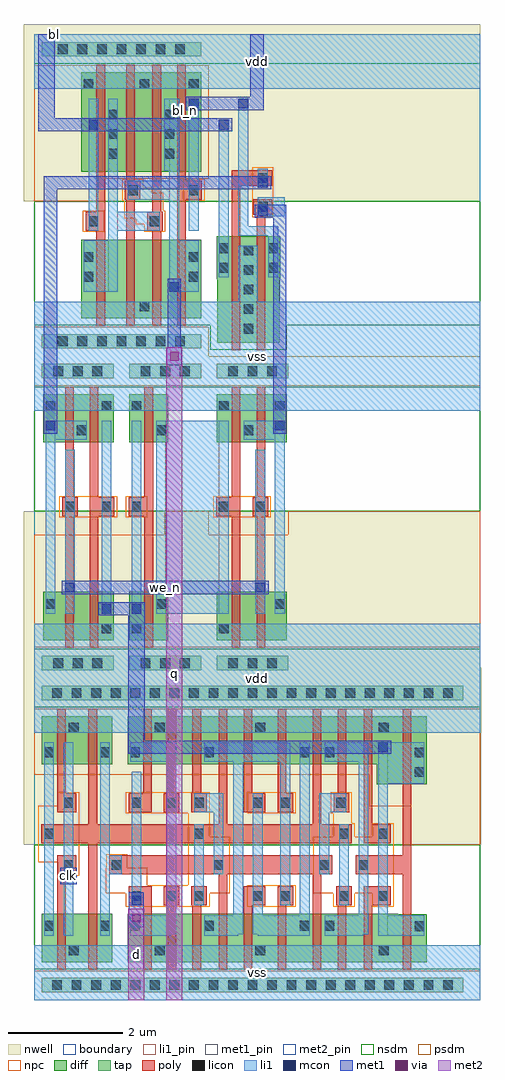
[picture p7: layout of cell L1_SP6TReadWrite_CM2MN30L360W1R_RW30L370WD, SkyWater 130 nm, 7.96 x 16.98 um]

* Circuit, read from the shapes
.subckt L1_SP6TReadWrite_CM2MN30L360W1R_RW30L370WD bl bl_n clk d q vdd vss we_n
XM1 vss clk n1 vss sky130_fd_pr__nfet_01v8 w=0.84 l=0.15
XM2 L1_nor2_x0_3/nq we_n vss vss sky130_fd_pr__nfet_01v8 w=0.84 l=0.15
XM3 n2 n1 vss vss sky130_fd_pr__nfet_01v8 w=0.84 l=0.15
XM4 vss L1_inv_x0_2/i L1_nor2_x0_3/nq vss sky130_fd_pr__nfet_01v8 w=0.84 l=0.15
XM5 n3 bl L1_nsnrlatch_x1_4/nq vss sky130_fd_pr__nfet_01v8 w=1.37 l=0.15
XM6 vss q n3 vss sky130_fd_pr__nfet_01v8 w=1.37 l=0.15
XM7 vss d n4 vss sky130_fd_pr__nfet_01v8 w=0.84 l=0.15
XM8 L1_nor2_x0_1/i0 L1_inv_x0_2/i vss vss sky130_fd_pr__nfet_01v8 w=0.84 l=0.15
XM9 n5 L1_nsnrlatch_x1_4/nq vss vss sky130_fd_pr__nfet_01v8 w=1.37 l=0.15
XM10 n6 n4 vss vss sky130_fd_pr__nfet_01v8 w=0.84 l=0.15
XM11 q bl_n n5 vss sky130_fd_pr__nfet_01v8 w=1.37 l=0.15
XM12 n7 n1 n6 vss sky130_fd_pr__nfet_01v8 w=0.84 l=0.15
XM13 n8 n2 n7 vss sky130_fd_pr__nfet_01v8 w=0.84 l=0.15
XM14 L1_nor2_x0_1/nq L1_nor2_x0_1/i0 vss vss sky130_fd_pr__nfet_01v8 w=0.84 l=0.15
XM15 vss L1_nor2_x0_3/nq bl vss sky130_fd_pr__nfet_01v8 w=1.85 l=0.15
XM16 vss n9 n8 vss sky130_fd_pr__nfet_01v8 w=0.84 l=0.15
XM17 vss we_n L1_nor2_x0_1/nq vss sky130_fd_pr__nfet_01v8 w=0.84 l=0.15
XM18 bl_n L1_nor2_x0_1/nq vss vss sky130_fd_pr__nfet_01v8 w=1.85 l=0.15
XM19 n9 n7 vss vss sky130_fd_pr__nfet_01v8 w=0.84 l=0.15
XM20 n10 n2 n9 vss sky130_fd_pr__nfet_01v8 w=0.84 l=0.15
XM21 n11 n1 n10 vss sky130_fd_pr__nfet_01v8 w=0.84 l=0.15
XM22 vss L1_inv_x0_2/i n11 vss sky130_fd_pr__nfet_01v8 w=0.84 l=0.15
XM23 L1_inv_x0_2/i n10 vss vss sky130_fd_pr__nfet_01v8 w=0.83 l=0.15
XM24 vdd clk n1 vdd sky130_fd_pr__pfet_01v8 w=0.84 l=0.15
XM25 n12 we_n L1_nor2_x0_3/nq vdd sky130_fd_pr__pfet_01v8 w=0.84 l=0.15
XM26 n2 n1 vdd vdd sky130_fd_pr__pfet_01v8 w=0.84 l=0.15
XM27 vdd L1_inv_x0_2/i n12 vdd sky130_fd_pr__pfet_01v8 w=0.84 l=0.15
XM28 L1_nsnrlatch_x1_4/nq bl vdd vdd sky130_fd_pr__pfet_01v8 w=1.73 l=0.15
XM29 vdd q L1_nsnrlatch_x1_4/nq vdd sky130_fd_pr__pfet_01v8 w=1.73 l=0.15
XM30 vdd d n4 vdd sky130_fd_pr__pfet_01v8 w=0.84 l=0.15
XM31 L1_nor2_x0_1/i0 L1_inv_x0_2/i vdd vdd sky130_fd_pr__pfet_01v8 w=0.84 l=0.15
XM32 q L1_nsnrlatch_x1_4/nq vdd vdd sky130_fd_pr__pfet_01v8 w=1.73 l=0.15
XM33 n13 n4 vdd vdd sky130_fd_pr__pfet_01v8 w=0.84 l=0.15
XM34 vdd bl_n q vdd sky130_fd_pr__pfet_01v8 w=1.73 l=0.15
XM35 n7 n2 n13 vdd sky130_fd_pr__pfet_01v8 w=0.84 l=0.15
XM36 n14 n1 n7 vdd sky130_fd_pr__pfet_01v8 w=0.84 l=0.15
XM37 n15 L1_nor2_x0_1/i0 vdd vdd sky130_fd_pr__pfet_01v8 w=0.84 l=0.15
XM38 vdd n9 n14 vdd sky130_fd_pr__pfet_01v8 w=0.84 l=0.15
XM39 L1_nor2_x0_1/nq we_n n15 vdd sky130_fd_pr__pfet_01v8 w=0.84 l=0.15
XM40 n9 n7 vdd vdd sky130_fd_pr__pfet_01v8 w=0.84 l=0.15
XM41 n10 n1 n9 vdd sky130_fd_pr__pfet_01v8 w=0.84 l=0.15
XM42 n16 n2 n10 vdd sky130_fd_pr__pfet_01v8 w=0.84 l=0.15
XM43 vdd L1_inv_x0_2/i n16 vdd sky130_fd_pr__pfet_01v8 w=0.84 l=0.15
XM44 L1_inv_x0_2/i n10 vdd vdd sky130_fd_pr__pfet_01v8 w=1.19 l=0.15
.ends

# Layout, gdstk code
from math import pi, radians
import gdstk
lib = gdstk.Library(unit=1e-6, precision=1e-09)
def R(c, l, rs):  # rectangles x0, y0, x1, y1
    for r in rs: c.add(gdstk.rectangle(r[:2], r[2:], *l))
def A(c, l, x, y, w, h, nx, ny, dx, dy):  # array of equal rectangles
    R(c, l, [(x+i*dx, y+j*dy, x+i*dx+w, y+j*dy+h) for i in range(nx) for j in range(ny)])
def P(c, l, *ps):  # polygons
    for p in ps: c.add(gdstk.Polygon(p, *l))
nwell = (64, 20)
diff = (65, 20)
tap = (65, 44)
poly = (66, 20)
licon = (66, 44)
li1_pin = (67, 16)
li1 = (67, 20)
mcon = (67, 44)
met1_pin = (68, 16)
met1 = (68, 20)
via = (68, 44)
met2_pin = (69, 16)
met2 = (69, 20)
nsdm = (93, 44)
psdm = (94, 20)
npc = (95, 20)
boundary = (235, 4)

l1_dff_x1 = lib.new_cell('L1_dff_x1')
R(l1_dff_x1, nwell, [(-0.18,2.7,7.78,5.78)])
R(l1_dff_x1, diff, [(0.135,0.66,1.36,1.5), (0.135,4.1,1.36,4.94)])
P(l1_dff_x1, diff, [(5.96,3.75),(5.96,4.1),(1.63,4.1),(1.63,4.94),(6.83,4.94),(6.83,3.75)],
  [(1.63,0.66),(1.63,1.5),(6.34,1.5),(6.34,1.49),(6.83,1.49),(6.83,0.66)])
R(l1_dff_x1, tap, [(0.135,0.135,7.465,0.385), (0.135,5.215,7.465,5.465)])
P(l1_dff_x1, poly, [(5.735,0.53),(5.735,1.975),(6.205,1.975),(6.205,1.645),(5.885,1.645),(5.885,0.53)],
  [(5.735,2.725),(5.735,5.07),(5.885,5.07),(5.885,3.055),(6.205,3.055),(6.205,2.725)],
  [(3.645,0.53),(3.645,1.975),(4.025,1.975),(4.025,1.645),(3.795,1.645),(3.795,0.53)],
  [(6.415,0.53),(6.415,2.185),(5.595,2.185),(5.595,2.515),(6.415,2.515),(6.415,5.07),(6.565,5.07),(6.565,0.53)],
  [(3.645,3.265),(3.645,5.07),(3.795,5.07),(3.795,3.595),(4.025,3.595),(4.025,3.265)],
  [(5.28,0.53),(5.28,1.645),(5.255,1.645),(5.255,1.975),(5.525,1.975),(5.525,1.645),(5.43,1.645),(5.43,0.53)],
  [(3.215,0.53),(3.215,2.185),(1.305,2.185),(1.305,2.515),(5.185,2.515),(5.185,2.185),(5,2.185),(5,0.53),(4.85,0.53),(4.85,2.185),(3.365,2.185),(3.365,0.53)],
  [(0.4,0.53),(0.4,2.515),(0.735,2.515),(0.735,2.185),(0.55,2.185),(0.55,0.53)],
  [(2.755,0.53),(2.755,1.645),(2.735,1.645),(2.735,1.975),(3.005,1.975),(3.005,1.645),(2.905,1.645),(2.905,0.53)],
  [(0.4,3.265),(0.4,5.07),(0.55,5.07),(0.55,3.595),(0.735,3.595),(0.735,3.265)],
  [(2.735,3.265),(2.735,3.595),(2.755,3.595),(2.755,5.07),(2.905,5.07),(2.905,3.595),(3.005,3.595),(3.005,3.265)],
  [(4.235,3.265),(4.235,5.07),(4.385,5.07),(4.385,3.595),(4.505,3.595),(4.505,3.265)],
  [(2.255,3.265),(2.255,3.595),(2.325,3.595),(2.325,5.07),(2.475,5.07),(2.475,3.595),(2.525,3.595),(2.525,3.265)],
  [(5.21,3.265),(5.21,3.595),(5.28,3.595),(5.28,5.07),(5.43,5.07),(5.43,3.595),(5.48,3.595),(5.48,3.265)],
  [(0.945,0.53),(0.945,2.725),(0.125,2.725),(0.125,3.055),(0.945,3.055),(0.945,5.07),(1.095,5.07),(1.095,3.055),(3.215,3.055),(3.215,5.07),(3.365,5.07),(3.365,3.055),(4.85,3.055),(4.85,5.07),(5,5.07),(5,3.055),(5.525,3.055),(5.525,2.725),(1.095,2.725),(1.095,0.53)],
  [(2.325,0.53),(2.325,1.645),(2.255,1.645),(2.255,1.975),(2.525,1.975),(2.525,1.645),(2.475,1.645),(2.475,0.53)],
  [(1.895,0.53),(1.895,1.645),(1.645,1.645),(1.645,1.975),(2.045,1.975),(2.045,0.53)],
  [(1.645,3.265),(1.645,3.595),(1.895,3.595),(1.895,5.07),(2.045,5.07),(2.045,3.265)],
  [(4.235,0.53),(4.235,1.975),(4.505,1.975),(4.505,1.645),(4.385,1.645),(4.385,0.53)])
A(l1_dff_x1, licon, 0.315, 0.175, 0.17, 0.17, 21, 2, 0.34, 5.08)
R(l1_dff_x1, licon, [(0.605,0.78,0.775,0.95), (2.1,0.78,2.27,0.95), (3.85,0.78,4.02,0.95), (6,0.78,6.17,0.95), (6.62,1.2,6.79,1.37), (0.175,1.205,0.345,1.375), (1.15,1.205,1.32,1.375), (1.67,1.205,1.84,1.375), (2.96,1.205,3.13,1.375), (4.625,1.205,4.795,1.375), (5.055,1.205,5.225,1.375), (1.695,1.725,1.865,1.895), (2.305,1.725,2.475,1.895), (2.785,1.725,2.955,1.895), (3.805,1.725,3.975,1.895), (4.285,1.725,4.455,1.895), (5.305,1.725,5.475,1.895), (5.985,1.725,6.155,1.895), (0.515,2.265,0.685,2.435), (1.355,2.265,1.525,2.435), (3.125,2.265,3.295,2.435), (4.965,2.265,5.135,2.435), (5.645,2.265,5.815,2.435), (0.175,2.805,0.345,2.975), (2.785,2.805,2.955,2.975), (5.305,2.805,5.475,2.975), (5.985,2.805,6.155,2.975), (0.515,3.345,0.685,3.515), (1.695,3.345,1.865,3.515), (2.305,3.345,2.475,3.515), (2.785,3.345,2.955,3.515), (3.805,3.345,3.975,3.515), (4.285,3.345,4.455,3.515), (5.26,3.345,5.43,3.515), (6.62,3.88,6.79,4.05), (6.62,4.22,6.79,4.39), (0.175,4.225,0.345,4.395), (1.15,4.225,1.32,4.395), (1.67,4.225,1.84,4.395), (2.96,4.225,3.13,4.395), (4.625,4.225,4.795,4.395), (5.055,4.225,5.225,4.395), (0.605,4.65,0.775,4.82), (2.1,4.65,2.27,4.82), (3.85,4.65,4.02,4.82), (6,4.65,6.17,4.82)])
R(l1_dff_x1, li1_pin, [(0,0,7.6,0.95), (0.515,1.12,0.685,4.48), (5.985,1.12,6.155,4.48), (1.695,1.645,1.865,3.975), (0,4.65,7.6,5.6)])
R(l1_dff_x1, li1, [(0,0,7.6,0.95), (0.175,1.12,0.345,4.48), (0.515,1.12,0.685,4.48), (1.695,1.645,1.865,3.975), (2.785,1.645,2.955,3.055), (5.305,1.645,5.475,3.055), (0,4.65,7.6,5.6)])
P(l1_dff_x1, li1, [(5.055,1.12),(5.055,1.475),(5.645,1.475),(5.645,4.145),(5.055,4.145),(5.055,4.48),(5.73,4.48),(5.73,4.475),(5.815,4.475),(5.815,1.145),(5.73,1.145),(5.73,1.12)],
  [(3.89,1.12),(3.89,1.145),(3.805,1.145),(3.805,3.595),(3.975,3.595),(3.975,1.475),(4.625,1.475),(4.625,4.48),(4.795,4.48),(4.795,1.12)],
  [(2.96,1.12),(2.96,1.475),(3.465,1.475),(3.465,4.145),(2.96,4.145),(2.96,4.48),(4.37,4.48),(4.37,4.475),(4.455,4.475),(4.455,1.645),(4.285,1.645),(4.285,4.145),(3.635,4.145),(3.635,1.145),(3.55,1.145),(3.55,1.12)],
  [(1.67,1.12),(1.67,1.475),(2.305,1.475),(2.305,4.145),(1.67,4.145),(1.67,4.48),(2.39,4.48),(2.39,4.475),(2.475,4.475),(2.475,1.145),(2.39,1.145),(2.39,1.12)],
  [(5.985,1.12),(5.985,4.48),(6.79,4.48),(6.79,3.765),(6.155,3.765),(6.155,1.475),(6.79,1.475),(6.79,1.12)],
  [(4.965,2.185),(4.965,3.595),(5.43,3.595),(5.43,3.265),(5.135,3.265),(5.135,2.185)],
  [(1.15,1.12),(1.15,4.48),(1.32,4.48),(1.32,2.515),(1.525,2.515),(1.525,2.185),(1.32,2.185),(1.32,1.12)],
  [(3.125,2.185),(3.125,3.265),(2.785,3.265),(2.785,3.595),(3.295,3.595),(3.295,2.185)])
R(l1_dff_x1, nsdm, [(0,0.535,7.6,2.7), (0,5.09,7.6,5.6)])
R(l1_dff_x1, psdm, [(0,0,7.6,0.51)])
P(l1_dff_x1, psdm, [(6.555,2.7),(6.555,3.375),(5.83,3.375),(5.83,3.915),(0,3.915),(0,5.065),(7.6,5.065),(7.6,2.7)])
R(l1_dff_x1, npc, [(3.705,1.625,4.555,1.995), (3.705,3.245,4.555,3.615)])
P(l1_dff_x1, npc, [(5.205,1.625),(5.205,1.86),(4.86,1.86),(4.86,2.84),(5.205,2.84),(5.205,3.245),(5.16,3.245),(5.16,3.615),(5.53,3.615),(5.53,3.075),(5.575,3.075),(5.575,2.84),(5.885,2.84),(5.885,3.075),(6.255,3.075),(6.255,2.84),(6.26,2.84),(6.26,1.86),(6.255,1.86),(6.255,1.625),(5.885,1.625),(5.885,1.86),(5.575,1.86),(5.575,1.625)],
  [(1.595,1.625),(1.595,1.86),(1.25,1.86),(1.25,2.3),(1.255,2.3),(1.255,2.535),(1.625,2.535),(1.625,2.3),(1.97,2.3),(1.97,1.995),(2.68,1.995),(2.68,2.84),(2.685,2.84),(2.685,3.245),(1.595,3.245),(1.595,3.615),(3.055,3.615),(3.055,2.84),(3.4,2.84),(3.4,1.86),(3.055,1.86),(3.055,1.625)],
  [(0.415,2.165),(0.415,2.4),(0.07,2.4),(0.07,3.38),(0.415,3.38),(0.415,3.615),(0.785,3.615),(0.785,3.38),(0.79,3.38),(0.79,2.4),(0.785,2.4),(0.785,2.165)])
l1_dff_x1.add(gdstk.Label('q', (6.07,2.8), layer=67, texttype=16))
l1_dff_x1.add(gdstk.Label('i', (1.78,2.81), layer=67, texttype=16))
l1_dff_x1.add(gdstk.Label('clk', (0.6,2.8), layer=67, texttype=16))
l1_dff_x1.add(gdstk.Label('vss', (3.8,0.475), layer=67, texttype=16))
l1_dff_x1.add(gdstk.Label('vdd', (3.8,5.125), layer=67, texttype=16))

l1_nor2_x0 = lib.new_cell('L1_nor2_x0')
R(l1_nor2_x0, nwell, [(-0.18,2.7,1.7,5.78)])
R(l1_nor2_x0, diff, [(0.135,0.66,1.36,1.5), (0.135,4.1,1.36,4.94)])
R(l1_nor2_x0, tap, [(0.135,0.135,1.385,0.385), (0.135,5.215,1.385,5.465)])
P(l1_nor2_x0, poly, [(0.83,0.53),(0.83,2.455),(0.76,2.455),(0.76,2.785),(0.83,2.785),(0.83,5.07),(0.98,5.07),(0.98,2.785),(1.03,2.785),(1.03,2.455),(0.98,2.455),(0.98,0.53)],
  [(0.4,0.53),(0.4,2.455),(0.125,2.455),(0.125,2.785),(0.4,2.785),(0.4,5.07),(0.55,5.07),(0.55,0.53)])
A(l1_nor2_x0, licon, 0.335, 0.175, 0.17, 0.17, 3, 2, 0.34, 5.08)
R(l1_nor2_x0, licon, [(0.175,0.78,0.345,0.95), (1.15,0.78,1.32,0.95), (0.605,1.205,0.775,1.375), (0.175,2.535,0.345,2.705), (0.81,2.535,0.98,2.705), (1.15,4.225,1.32,4.395), (0.175,4.65,0.345,4.82)])
R(l1_nor2_x0, li1_pin, [(0,0,1.52,0.95), (0.175,1.12,0.345,4.48), (1.15,1.12,1.32,4.48), (0.81,1.625,0.98,4.48), (0,4.65,1.52,5.6)])
R(l1_nor2_x0, li1, [(0,0,1.52,0.95), (0.175,1.12,0.345,4.48), (0.81,1.625,0.98,4.48), (0,4.65,1.52,5.6)])
P(l1_nor2_x0, li1, [(0.605,1.12),(0.605,1.455),(1.15,1.455),(1.15,4.48),(1.32,4.48),(1.32,1.12)])
R(l1_nor2_x0, nsdm, [(0,0.535,1.52,2.7), (0,5.09,1.52,5.6)])
R(l1_nor2_x0, psdm, [(0,0,1.52,0.51), (0,3.105,1.52,5.065)])
R(l1_nor2_x0, npc, [(0.075,2.435,1.08,2.805)])
l1_nor2_x0.add(gdstk.Label('i1', (0.895,3.052), layer=67, texttype=16))
l1_nor2_x0.add(gdstk.Label('i0', (0.26,2.8), layer=67, texttype=16))
l1_nor2_x0.add(gdstk.Label('nq', (1.235,2.8), layer=67, texttype=16))
l1_nor2_x0.add(gdstk.Label('vdd', (0.76,5.125), layer=67, texttype=16))
l1_nor2_x0.add(gdstk.Label('vss', (0.76,0.475), layer=67, texttype=16))

l1_inv_x0 = lib.new_cell('L1_inv_x0')
R(l1_inv_x0, nwell, [(-0.18,2.7,1.7,5.78)])
R(l1_inv_x0, diff, [(0.135,0.66,0.815,1.5), (0.135,4.1,0.815,4.94)])
R(l1_inv_x0, tap, [(0.135,0.135,1.385,0.385), (0.135,5.215,1.385,5.465)])
P(l1_inv_x0, poly, [(0.4,0.53),(0.4,2.455),(0.125,2.455),(0.125,2.785),(0.4,2.785),(0.4,5.07),(0.55,5.07),(0.55,0.53)])
A(l1_inv_x0, licon, 0.335, 0.175, 0.17, 0.17, 3, 2, 0.34, 5.08)
R(l1_inv_x0, licon, [(0.175,0.78,0.345,0.95), (0.605,1.205,0.775,1.375), (0.175,2.535,0.345,2.705), (0.605,4.225,0.775,4.395), (0.175,4.65,0.345,4.82)])
R(l1_inv_x0, li1_pin, [(0,0,1.52,0.95), (0.175,1.12,0.345,4.48), (0.605,1.12,0.775,4.48), (0,4.65,1.52,5.6)])
R(l1_inv_x0, li1, [(0,0,1.52,0.95), (0.175,1.12,0.345,4.48), (0.605,1.12,0.775,4.48), (0,4.65,1.52,5.6)])
R(l1_inv_x0, nsdm, [(0,0.535,1.52,2.7), (0,5.09,1.52,5.6)])
R(l1_inv_x0, psdm, [(0,0,1.52,0.51)])
P(l1_inv_x0, psdm, [(0.745,2.7),(0.745,3.105),(0,3.105),(0,5.065),(1.52,5.065),(1.52,2.7)])
R(l1_inv_x0, npc, [(0.075,2.435,0.445,2.805)])
l1_inv_x0.add(gdstk.Label('i', (0.26,2.8), layer=67, texttype=16))
l1_inv_x0.add(gdstk.Label('nq', (0.69,2.8), layer=67, texttype=16))
l1_inv_x0.add(gdstk.Label('vdd', (0.76,5.125), layer=67, texttype=16))
l1_inv_x0.add(gdstk.Label('vss', (0.76,0.475), layer=67, texttype=16))

l1_nsnrlatch_x1 = lib.new_cell('L1_nsnrlatch_x1')
R(l1_nsnrlatch_x1, nwell, [(-0.18,2.7,3.22,5.78)])
R(l1_nsnrlatch_x1, diff, [(0.135,0.66,2.22,2.03), (0.135,3.21,2.22,4.94)])
R(l1_nsnrlatch_x1, tap, [(0.135,0.135,2.905,0.385), (0.135,5.215,2.905,5.465)])
R(l1_nsnrlatch_x1, poly, [(0.905,2.185,0.94,2.515), (1.88,2.185,2.005,2.515)])
P(l1_nsnrlatch_x1, poly, [(1.805,0.53),(1.805,5.07),(1.955,5.07),(1.955,2.515),(2.14,2.515),(2.14,2.185),(1.955,2.185),(1.955,0.53)],
  [(0.83,0.53),(0.83,2.185),(0.805,2.185),(0.805,2.515),(0.83,2.515),(0.83,5.07),(0.98,5.07),(0.98,2.515),(1.075,2.515),(1.075,2.185),(0.98,2.185),(0.98,0.53)],
  [(0.4,0.53),(0.4,2.725),(0.125,2.725),(0.125,3.055),(0.4,3.055),(0.4,5.07),(0.55,5.07),(0.55,0.53)],
  [(1.285,0.53),(1.285,2.725),(1.19,2.725),(1.19,3.055),(1.285,3.055),(1.285,5.07),(1.435,5.07),(1.435,3.055),(1.46,3.055),(1.46,2.725),(1.435,2.725),(1.435,0.53)])
A(l1_nsnrlatch_x1, licon, 0.415, 0.175, 0.17, 0.17, 7, 2, 0.34, 5.08)
A(l1_nsnrlatch_x1, licon, 0.605, 3.44, 0.17, 0.17, 1, 3, 0, 0.34)
A(l1_nsnrlatch_x1, licon, 1.58, 3.44, 0.17, 0.17, 1, 3, 0, 0.34)
R(l1_nsnrlatch_x1, licon, [(1.035,0.78,1.205,0.95), (0.175,1.3,0.345,1.47), (2.01,1.3,2.18,1.47), (0.175,1.64,0.345,1.81), (2.01,1.64,2.18,1.81), (0.855,2.265,1.025,2.435), (1.92,2.265,2.09,2.435), (0.175,2.805,0.345,2.975), (1.24,2.805,1.41,2.975), (0.175,4.65,0.345,4.82), (1.035,4.65,1.205,4.82), (2.01,4.65,2.18,4.82)])
R(l1_nsnrlatch_x1, li1_pin, [(0,0,3.04,0.95), (0.515,1.12,0.685,4.48), (1.58,1.12,1.75,4.48), (0.175,2.185,0.345,4.48), (1.92,2.185,2.09,4.48), (0,4.65,3.04,5.6)])
R(l1_nsnrlatch_x1, li1, [(0,0,3.04,0.95), (0.175,2.185,0.345,4.48), (1.92,2.185,2.09,4.48), (0,4.65,3.04,5.6)])
P(l1_nsnrlatch_x1, li1, [(1.58,1.12),(1.58,2.185),(0.855,2.185),(0.855,2.515),(1.58,2.515),(1.58,4.48),(1.75,4.48),(1.75,2.015),(2.18,2.015),(2.18,1.12)],
  [(0.175,1.12),(0.175,2.015),(0.515,2.015),(0.515,4.48),(0.775,4.48),(0.775,3.225),(0.685,3.225),(0.685,3.055),(1.41,3.055),(1.41,2.725),(0.685,2.725),(0.685,1.12)])
R(l1_nsnrlatch_x1, nsdm, [(0,0.535,3.04,2.7), (0,5.09,3.04,5.6)])
R(l1_nsnrlatch_x1, psdm, [(0,0,3.04,0.51)])
P(l1_nsnrlatch_x1, psdm, [(1.81,2.7),(1.81,3.085),(0,3.085),(0,5.065),(3.04,5.065),(3.04,2.7)])
R(l1_nsnrlatch_x1, npc, [(1.82,2.165,2.19,2.535), (0.075,2.705,0.445,3.075)])
P(l1_nsnrlatch_x1, npc, [(0.755,2.165),(0.755,2.535),(0.795,2.535),(0.795,2.84),(0.99,2.84),(0.99,2.94),(1.14,2.94),(1.14,3.075),(1.51,3.075),(1.51,2.705),(1.47,2.705),(1.47,2.4),(1.275,2.4),(1.275,2.3),(1.125,2.3),(1.125,2.165)])
l1_nsnrlatch_x1.add(gdstk.Label('nrst', (2.005,3.332), layer=67, texttype=16))
l1_nsnrlatch_x1.add(gdstk.Label('nq', (1.665,2.8), layer=67, texttype=16))
l1_nsnrlatch_x1.add(gdstk.Label('nset', (0.26,3.332), layer=67, texttype=16))
l1_nsnrlatch_x1.add(gdstk.Label('vss', (1.52,0.475), layer=67, texttype=16))
l1_nsnrlatch_x1.add(gdstk.Label('vdd', (1.52,5.125), layer=67, texttype=16))
l1_nsnrlatch_x1.add(gdstk.Label('q', (0.6,2.8), layer=67, texttype=16))

l1_sp6treadwrite_cm2mn30 = lib.new_cell('L1_SP6TReadWrite_CM2MN30L360W1R_RW30L370WD')
R(l1_sp6treadwrite_cm2mn30, nwell, [(-0.18,5.42,7.76,8.5), (-0.18,13.9,7.76,16.98)])
P(l1_sp6treadwrite_cm2mn30, diff, [(3.19,11.435),(3.19,12.535),(3.175,12.535),(3.175,13.285),(4.285,13.285),(4.285,12.535),(4.27,12.535),(4.27,11.435)])
P(l1_sp6treadwrite_cm2mn30, poly, [(3.87,11.305),(3.87,13.665),(3.815,13.665),(3.815,13.935),(4.145,13.935),(4.145,13.665),(4.02,13.665),(4.02,11.305)],
  [(3.44,11.305),(3.44,14.435),(4.145,14.435),(4.145,14.165),(3.59,14.165),(3.59,11.305)])
A(l1_sp6treadwrite_cm2mn30, licon, 3.645, 11.595, 0.17, 0.17, 1, 5, 0, 0.34)
R(l1_sp6treadwrite_cm2mn30, licon, [(3.215,12.655,3.385,12.825), (4.075,12.655,4.245,12.825), (3.215,12.995,3.385,13.165), (4.075,12.995,4.245,13.165), (3.895,13.715,4.065,13.885), (3.895,14.215,4.065,14.385)])
R(l1_sp6treadwrite_cm2mn30, li1_pin, [(0,0,7.76,0.95), (0,4.65,7.76,6.55), (0,10.25,7.76,12.15), (0,15.85,7.76,16.8)])
R(l1_sp6treadwrite_cm2mn30, li1, [(0,0,7.76,0.95), (1.695,1.645,1.865,1.815), (0.515,2.075,0.685,2.245), (5.985,4.31,6.155,4.48), (0,4.65,7.76,6.55), (1.175,6.72,1.345,6.89), (1.695,6.72,1.865,6.89), (2.295,6.72,3.3,10.08), (0.54,7.09,0.71,7.26), (3.85,7.09,4.02,7.26), (0.2,9.91,0.37,10.08), (4.19,9.91,4.36,10.08), (2.355,12.32,2.525,12.49), (3.215,12.575,3.385,15.31), (3.895,13.635,4.36,13.965), (3.895,14.135,4.065,14.465), (0.95,15.14,1.12,15.31), (2.695,15.51,2.865,15.68), (0,15.85,7.76,16.8)])
P(l1_sp6treadwrite_cm2mn30, li1, [(4.075,12.575),(4.075,13.295),(3.555,13.295),(3.555,15.68),(3.725,15.68),(3.725,13.465),(4.245,13.465),(4.245,12.575)],
  [(0,10.25),(0,12.15),(3.565,12.15),(3.565,13.125),(3.895,13.125),(3.895,12.15),(7.76,12.15),(7.76,10.25)])
R(l1_sp6treadwrite_cm2mn30, mcon, [(1.695,1.645,1.865,1.815), (0.515,2.075,0.685,2.245), (5.985,4.31,6.155,4.48), (1.175,6.72,1.345,6.89), (1.695,6.72,1.865,6.89), (0.54,7.09,0.71,7.26), (3.85,7.09,4.02,7.26), (0.2,9.91,0.37,10.08), (4.19,9.91,4.36,10.08), (2.355,12.32,2.525,12.49), (3.895,13.635,4.065,13.805), (3.895,14.135,4.065,14.305), (0.95,15.14,1.12,15.31), (3.215,15.14,3.385,15.31), (2.695,15.51,2.865,15.68), (3.555,15.51,3.725,15.68)])
R(l1_sp6treadwrite_cm2mn30, met1_pin, [(0.455,2.015,0.745,2.305), (0.48,7.06,4.08,7.29)])
P(l1_sp6treadwrite_cm2mn30, met1_pin, [(2.635,15.48),(2.635,15.71),(3.765,15.71),(3.765,16.8),(3.995,16.8),(3.995,15.48)],
  [(0.07,15.11),(0.07,16.8),(0.36,16.8),(0.36,15.34),(3.445,15.34),(3.445,15.11)])
R(l1_sp6treadwrite_cm2mn30, met1, [(1.65,1.265,1.91,1.875), (0.455,2.015,0.745,2.305), (0.48,7.06,4.08,7.29)])
P(l1_sp6treadwrite_cm2mn30, met1, [(1.635,4.28),(1.635,6.69),(1.115,6.69),(1.115,6.92),(1.925,6.92),(1.925,4.51),(6.215,4.51),(6.215,4.28)],
  [(2.31,11.04),(2.31,11.36),(2.325,11.36),(2.325,12.55),(2.555,12.55),(2.555,11.36),(2.57,11.36),(2.57,11.04)],
  [(4.16,9.85),(4.16,13.605),(3.835,13.605),(3.835,13.835),(4.39,13.835),(4.39,9.85)],
  [(2.635,15.48),(2.635,15.71),(3.765,15.71),(3.765,16.8),(3.995,16.8),(3.995,15.48)],
  [(0.17,9.85),(0.17,14.335),(4.125,14.335),(4.125,14.105),(0.4,14.105),(0.4,9.85)],
  [(0.07,15.11),(0.07,16.8),(0.36,16.8),(0.36,15.34),(3.445,15.34),(3.445,15.11)])
R(l1_sp6treadwrite_cm2mn30, via, [(1.705,1.35,1.855,1.5), (2.365,11.125,2.515,11.275)])
R(l1_sp6treadwrite_cm2mn30, met2_pin, [(1.64,0,1.92,1.585), (2.3,0,2.58,11.36)])
R(l1_sp6treadwrite_cm2mn30, met2, [(1.64,0,1.92,1.585), (2.3,0,2.58,11.36)])
R(l1_sp6treadwrite_cm2mn30, nsdm, [(0,0.535,7.76,2.7), (0,5.09,7.76,6.11), (0,8.5,7.76,10.665), (0,16.29,7.76,16.8)])
P(l1_sp6treadwrite_cm2mn30, nsdm, [(3.065,11.31),(3.065,11.735),(0,11.735),(0,13.9),(7.76,13.9),(7.76,11.735),(4.395,11.735),(4.395,11.31)])
R(l1_sp6treadwrite_cm2mn30, psdm, [(0,0,7.76,0.51), (0,10.69,7.76,11.2)])
P(l1_sp6treadwrite_cm2mn30, psdm, [(0,6.135),(0,8.095),(2.265,8.095),(2.265,8.5),(2.815,8.5),(2.815,8.095),(4.42,8.095),(4.42,8.5),(7.76,8.5),(7.76,6.135)],
  [(6.555,2.7),(6.555,3.375),(5.83,3.375),(5.83,3.915),(0,3.915),(0,5.065),(7.76,5.065),(7.76,2.7)])
R(l1_sp6treadwrite_cm2mn30, npc, [(3.795,13.615,4.165,14.485)])
R(l1_sp6treadwrite_cm2mn30, boundary, [(0,0,7.76,16.8)])
l1_sp6treadwrite_cm2mn30.add(gdstk.Reference(l1_dff_x1, (0,0)))
l1_sp6treadwrite_cm2mn30.add(gdstk.Reference(l1_nor2_x0, (3.04,11.2), x_reflection=True))
l1_sp6treadwrite_cm2mn30.add(gdstk.Reference(l1_inv_x0, (1.52,11.2), x_reflection=True))
l1_sp6treadwrite_cm2mn30.add(gdstk.Reference(l1_nor2_x0, (1.52,11.2), rotation=pi))
l1_sp6treadwrite_cm2mn30.add(gdstk.Reference(l1_nsnrlatch_x1, (3.04,11.2), rotation=pi, x_reflection=True))
l1_sp6treadwrite_cm2mn30.add(gdstk.Label('we_n', (2.28,7.175), layer=68, texttype=16))
l1_sp6treadwrite_cm2mn30.add(gdstk.Label('clk', (0.6,2.16), layer=68, texttype=16))
l1_sp6treadwrite_cm2mn30.add(gdstk.Label('bl_n', (2.635,15.48), layer=68, texttype=16))
l1_sp6treadwrite_cm2mn30.add(gdstk.Label('bl', (0.36,16.8), layer=68, texttype=16))
l1_sp6treadwrite_cm2mn30.add(gdstk.Label('d', (1.78,0.793), layer=69, texttype=16))
l1_sp6treadwrite_cm2mn30.add(gdstk.Label('q', (2.44,5.68), layer=69, texttype=16))
l1_sp6treadwrite_cm2mn30.add(gdstk.Label('vdd', (3.88,5.6), layer=67, texttype=16))
l1_sp6treadwrite_cm2mn30.add(gdstk.Label('vdd', (3.88,16.325), layer=67, texttype=16))
l1_sp6treadwrite_cm2mn30.add(gdstk.Label('vss', (3.88,0.475), layer=67, texttype=16))
l1_sp6treadwrite_cm2mn30.add(gdstk.Label('vss', (3.88,11.2), layer=67, texttype=16))

lib.write_gds('L1_SP6TReadWrite_CM2MN30L360W1R_RW30L370WD.gds')
